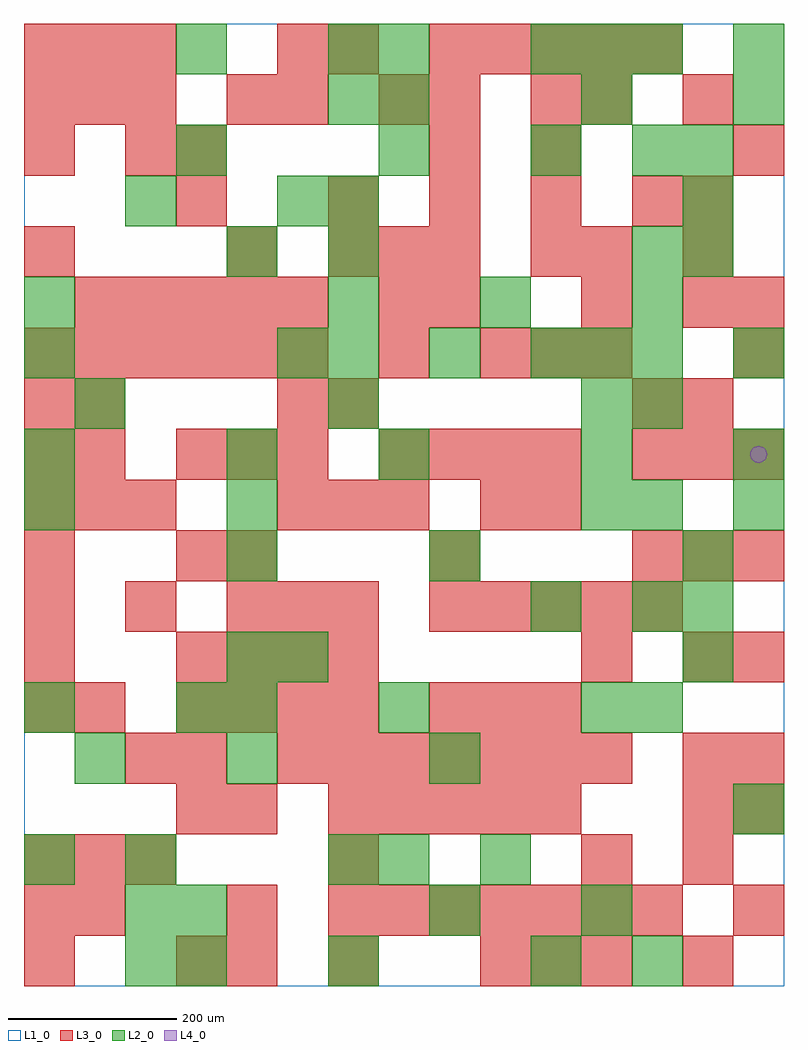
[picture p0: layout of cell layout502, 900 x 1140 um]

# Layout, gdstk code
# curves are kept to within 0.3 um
import gdstk
lib = gdstk.Library(unit=1e-6, precision=1e-09)
def R(c, l, rs):  # rectangles x0, y0, x1, y1
    for r in rs: c.add(gdstk.rectangle(r[:2], r[2:], *l))
def A(c, l, x, y, w, h, nx, ny, dx, dy):  # array of equal rectangles
    R(c, l, [(x+i*dx, y+j*dy, x+i*dx+w, y+j*dy+h) for i in range(nx) for j in range(ny)])
def P(c, l, *ps):  # polygons
    for p in ps: c.add(gdstk.Polygon(p, *l))
L1_0 = (1, 0)
L2_0 = (2, 0)
L3_0 = (3, 0)
L4_0 = (4, 0)

layout502 = lib.new_cell('layout502')
R(layout502, L1_0, [(0,0,900,1140)])
A(layout502, L2_0, 120, 0, 60, 60, 1, 3, 0, 60)
A(layout502, L2_0, 660, 60, 60, 60, 1, 3, 0, 240)
A(layout502, L2_0, 240, 240, 60, 60, 1, 3, 0, 60)
A(layout502, L2_0, 720, 300, 60, 60, 1, 4, 0, 120)
A(layout502, L2_0, 780, 360, 60, 60, 1, 3, 0, 60)
A(layout502, L2_0, 240, 480, 60, 60, 1, 3, 0, 60)
A(layout502, L2_0, 60, 660, 60, 60, 3, 1, 300, 0)
A(layout502, L2_0, 360, 720, 60, 60, 3, 1, 120, 0)
A(layout502, L2_0, 720, 720, 60, 60, 1, 3, 0, 120)
A(layout502, L2_0, 360, 780, 60, 60, 3, 1, 180, 0)
A(layout502, L2_0, 780, 840, 60, 60, 1, 3, 0, 60)
A(layout502, L2_0, 420, 960, 60, 60, 1, 3, 0, 60)
A(layout502, L2_0, 600, 1080, 60, 60, 3, 1, 60, 0)
R(layout502, L2_0, [(180,0,240,60), (360,0,420,60), (600,0,660,60), (720,0,780,60), (180,60,240,120), (480,60,540,120), (0,120,60,180), (360,120,420,180), (420,120,480,180), (540,120,600,180), (840,180,900,240), (60,240,120,300), (480,240,540,300), (0,300,60,360), (180,300,240,360), (420,300,480,360), (300,360,360,420), (600,420,660,480), (480,480,540,540), (0,540,60,600), (840,540,900,600), (0,600,60,660), (420,600,480,660), (660,600,720,660), (840,600,900,660), (0,720,60,780), (300,720,360,780), (660,720,720,780), (840,720,900,780), (0,780,60,840), (240,840,300,900), (360,840,420,900), (120,900,180,960), (300,900,360,960), (360,900,420,960), (180,960,240,1020), (600,960,660,1020), (360,1020,420,1080), (660,1020,720,1080), (840,1020,900,1080), (180,1080,240,1140), (360,1080,420,1140), (840,1080,900,1140)])
A(layout502, L3_0, 540, 0, 60, 60, 3, 2, 60, 720)
A(layout502, L3_0, 360, 60, 60, 60, 7, 1, 60, 0)
A(layout502, L3_0, 0, 120, 60, 60, 3, 2, 60, 420)
A(layout502, L3_0, 780, 120, 60, 60, 1, 3, 0, 60)
A(layout502, L3_0, 360, 180, 60, 60, 5, 1, 60, 0)
A(layout502, L3_0, 300, 240, 60, 60, 7, 1, 60, 0)
A(layout502, L3_0, 840, 240, 60, 60, 1, 3, 0, 120)
A(layout502, L3_0, 180, 300, 60, 60, 4, 2, 60, 60)
A(layout502, L3_0, 480, 300, 60, 60, 3, 1, 60, 0)
A(layout502, L3_0, 0, 360, 60, 60, 1, 3, 0, 120)
A(layout502, L3_0, 0, 420, 60, 60, 3, 1, 120, 0)
A(layout502, L3_0, 480, 420, 60, 60, 5, 2, 60, 660)
A(layout502, L3_0, 240, 480, 60, 60, 3, 1, 240, 0)
A(layout502, L3_0, 300, 540, 60, 60, 3, 1, 60, 0)
A(layout502, L3_0, 180, 600, 60, 60, 3, 1, 60, 0)
A(layout502, L3_0, 420, 600, 60, 60, 4, 1, 60, 0)
A(layout502, L3_0, 720, 600, 60, 60, 3, 1, 60, 0)
A(layout502, L3_0, 0, 720, 60, 60, 6, 1, 60, 0)
A(layout502, L3_0, 60, 780, 60, 60, 5, 1, 60, 0)
A(layout502, L3_0, 780, 780, 60, 60, 1, 3, 0, 60)
A(layout502, L3_0, 360, 840, 60, 60, 3, 1, 60, 0)
A(layout502, L3_0, 360, 900, 60, 60, 4, 1, 120, 0)
A(layout502, L3_0, 0, 1020, 60, 60, 3, 2, 60, 60)
R(layout502, L3_0, [(0,0,60,60), (180,0,240,60), (240,0,300,60), (360,0,420,60), (780,0,840,60), (0,60,60,120), (60,60,120,120), (240,60,300,120), (840,60,900,120), (360,120,420,180), (660,120,720,180), (180,180,240,240), (240,180,300,240), (840,180,900,240), (120,240,180,300), (180,240,240,300), (0,300,60,360), (60,300,120,360), (660,360,720,420), (780,360,840,420), (300,420,360,480), (360,420,420,480), (180,480,240,540), (780,480,840,540), (540,540,600,600), (600,540,660,600), (60,600,120,660), (0,660,60,720), (60,660,120,720), (300,660,360,720), (360,660,420,720), (720,660,780,720), (780,660,840,720), (420,720,480,780), (840,720,900,780), (420,780,480,840), (480,780,540,840), (660,780,720,840), (840,780,900,840), (0,840,60,900), (240,840,300,900), (600,840,660,900), (660,840,720,900), (180,900,240,960), (0,960,60,1020), (120,960,180,1020), (180,960,240,1020), (480,960,540,1020), (600,960,660,1020), (840,960,900,1020), (240,1020,300,1080), (300,1020,360,1080), (420,1020,480,1080), (480,1020,540,1080), (600,1020,660,1080), (660,1020,720,1080), (780,1020,840,1080), (300,1080,360,1140), (360,1080,420,1140)])
P(layout502, L4_0, [(880,630),(879.239,633.827),(877.071,637.071),(873.827,639.239),(870,640),(866.173,639.239),(862.929,637.071),(860.761,633.827),(860,630),(860.761,626.173),(862.929,622.929),(866.173,620.761),(870,620),(873.827,620.761),(877.071,622.929),(879.239,626.173)])

lib.write_gds('layout502.gds')
